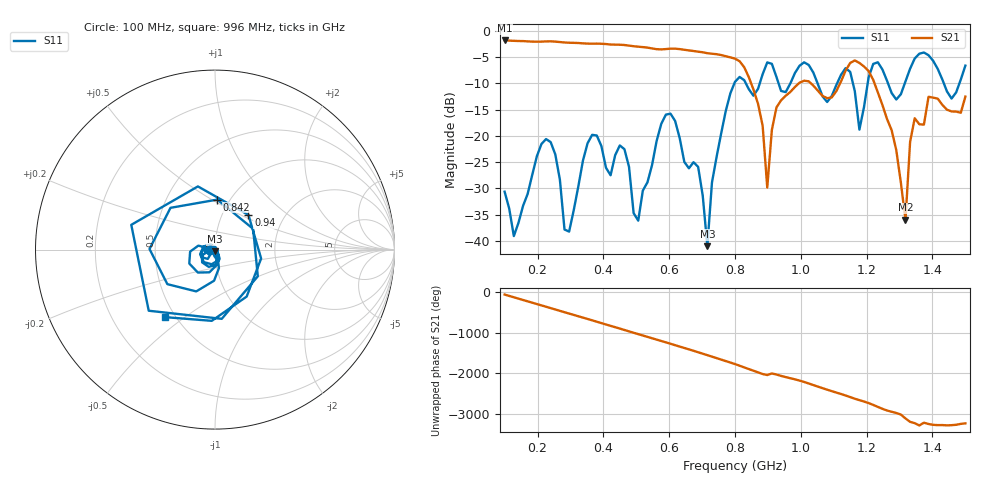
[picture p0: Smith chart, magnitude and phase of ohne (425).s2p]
! NanoVNA-App
! Date: 2025-09-25 14:24:06
! Start: 100MHz Stop: 1,5GHz Points: 101
! S-Parameter data: F S11 S21 S12 S22
# Hz S RI R 50
!  Frequency  S11_Real  S11_Imag  S21_Real  S21_Imag  S12_Real  S12_Imag  S22_Real  S22_Imag
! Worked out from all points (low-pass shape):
!   101 points, 100 MHz to 1.5 GHz, reference 50 ohm
!   highest |S21| = -1.79 dB at 100 MHz (marker M1); lowest = -36.0 dB at 1.318 GHz (marker M2)
!   |S21| within 3 dB of the highest: start of sweep to 771.4 MHz
!   lowest |S11| = -41.0 dB at 716 MHz (marker M3), VSWR 1.02, Z = 49.7 - j0.847 ohm
!   |S11| at or under -10 dB: start of sweep to 798 MHz; 833.1 MHz to 875.1 MHz (42 MHz wide, 4.92 % of centre); 1.051 GHz to 1.11 GHz (59.08 MHz wide, 5.47 % of centre) (the widest 3 of 7)
!   S12 and S22 are empty: the file has one direction only
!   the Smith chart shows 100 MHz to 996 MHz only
!   S11 on the Smith chart (normalised r, x): 100 MHz: 0.94, -0.01; 842 MHz: 0.88, +0.53; 940 MHz: 1.33, +0.55; 996 MHz: 0.44, -0.43
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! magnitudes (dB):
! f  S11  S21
! 100 MHz  -30.6  -1.8
! 128 MHz  -39.1  -1.9
! 226 MHz  -20.6  -2.0
! 296 MHz  -38.3  -2.2
! 338 MHz  -24.7  -2.3
! 464 MHz  -22.5  -2.7
! 506 MHz  -36.2  -3.0
! 576 MHz  -17.7  -3.5
! 688 MHz  -25.9  -3.9
! 716 MHz  -41.0  -4.2
! 800 MHz  -9.7  -5.3
! 842 MHz  -11.1  -8.8
! 898 MHz  -6.0  -29.8
! 940 MHz  -11.4  -13.2
! 996 MHz  -6.6  -9.9
! 1.038 GHz  -7.9  -10.4
! 1.178 GHz  -18.8  -6.1
! 1.22 GHz  -6.3  -9.3
! 1.276 GHz  -11.8  -18.9
! 1.318 GHz  -9.6  -36.0
! 1.346 GHz  -5.2  -16.6
! 1.5 GHz  -6.6  -12.5
